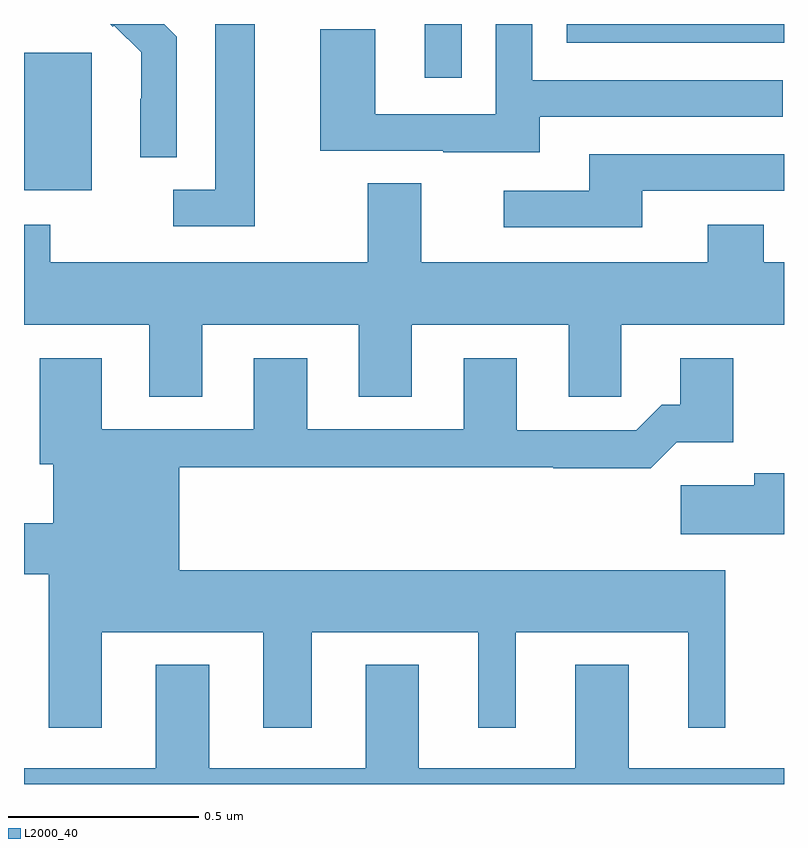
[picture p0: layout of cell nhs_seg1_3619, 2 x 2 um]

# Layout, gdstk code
import gdstk
lib = gdstk.Library(unit=1e-6, precision=1e-09)
def R(c, l, rs):  # rectangles x0, y0, x1, y1
    for r in rs: c.add(gdstk.rectangle(r[:2], r[2:], *l))
def P(c, l, *ps):  # polygons
    for p in ps: c.add(gdstk.Polygon(p, *l))
L2000_40 = (2000, 40)

nhs_seg1_3619 = lib.new_cell('nhs_seg1_3619')
R(nhs_seg1_3619, L2000_40, [(156,542.762,156.178,543.123), (157.055,543.057,157.152,543.199), (157.428,543.15,158,543.199)])
P(nhs_seg1_3619, L2000_40, [(156.607,543.199),(156.503,543.199),(156.503,542.763),(156.393,542.763),(156.393,542.667),(156.607,542.667)],
  [(156.402,543.166),(156.369,543.199),(156.227,543.199),(156.234,543.192),(156.237,543.195),(156.308,543.125),(156.308,543.002),(156.306,543.002),(156.306,542.848),(156.402,542.848)],
  [(157.357,542.955),(157.997,542.955),(157.997,543.051),(157.338,543.051),(157.338,543.199),(157.242,543.199),(157.242,542.961),(156.924,542.961),(156.924,543.185),(156.779,543.185),(156.779,542.865),(157.103,542.865),(157.103,542.861),(157.357,542.861)],
  [(157.627,542.76),(158,542.76),(158,542.856),(157.487,542.856),(157.487,542.76),(157.263,542.76),(157.263,542.664),(157.627,542.664)],
  [(156.469,542.408),(156.881,542.408),(156.881,542.218),(157.021,542.218),(157.021,542.408),(157.433,542.408),(157.433,542.218),(157.572,542.218),(157.572,542.408),(158,542.408),(158,542.572),(157.947,542.572),(157.947,542.671),(157.799,542.671),(157.799,542.572),(157.045,542.572),(157.045,542.78),(156.905,542.78),(156.905,542.572),(156.069,542.572),(156.069,542.671),(156,542.671),(156,542.408),(156.329,542.408),(156.329,542.218),(156.469,542.218)],
  [(156.205,541.598),(156.629,541.598),(156.629,541.347),(156.757,541.347),(156.757,541.598),(157.196,541.598),(157.196,541.347),(157.294,541.347),(157.294,541.598),(157.748,541.598),(157.748,541.347),(157.846,541.347),(157.846,541.762),(156.409,541.762),(156.409,542.032),(157.393,542.032),(157.393,542.03),(157.649,542.03),(157.718,542.099),(157.867,542.099),(157.867,542.32),(157.727,542.32),(157.727,542.197),(157.678,542.197),(157.611,542.13),(157.297,542.13),(157.297,542.32),(157.157,542.32),(157.157,542.133),(156.745,542.133),(156.745,542.32),(156.605,542.32),(156.605,542.133),(156.205,542.133),(156.205,542.32),(156.041,542.32),(156.041,542.04),(156.077,542.04),(156.077,541.885),(156,541.885),(156,541.751),(156.065,541.751),(156.065,541.347),(156.205,541.347)],
  [(158,542.017),(157.922,542.017),(157.922,541.985),(157.728,541.985),(157.728,541.856),(158,541.856)],
  [(158,541.24),(157.591,541.24),(157.591,541.513),(157.451,541.513),(157.451,541.24),(157.039,541.24),(157.039,541.513),(156.899,541.513),(156.899,541.24),(156.487,541.24),(156.487,541.513),(156.347,541.513),(156.347,541.24),(156,541.24),(156,541.199),(158,541.199)])

lib.write_gds('nhs_seg1_3619.gds')
